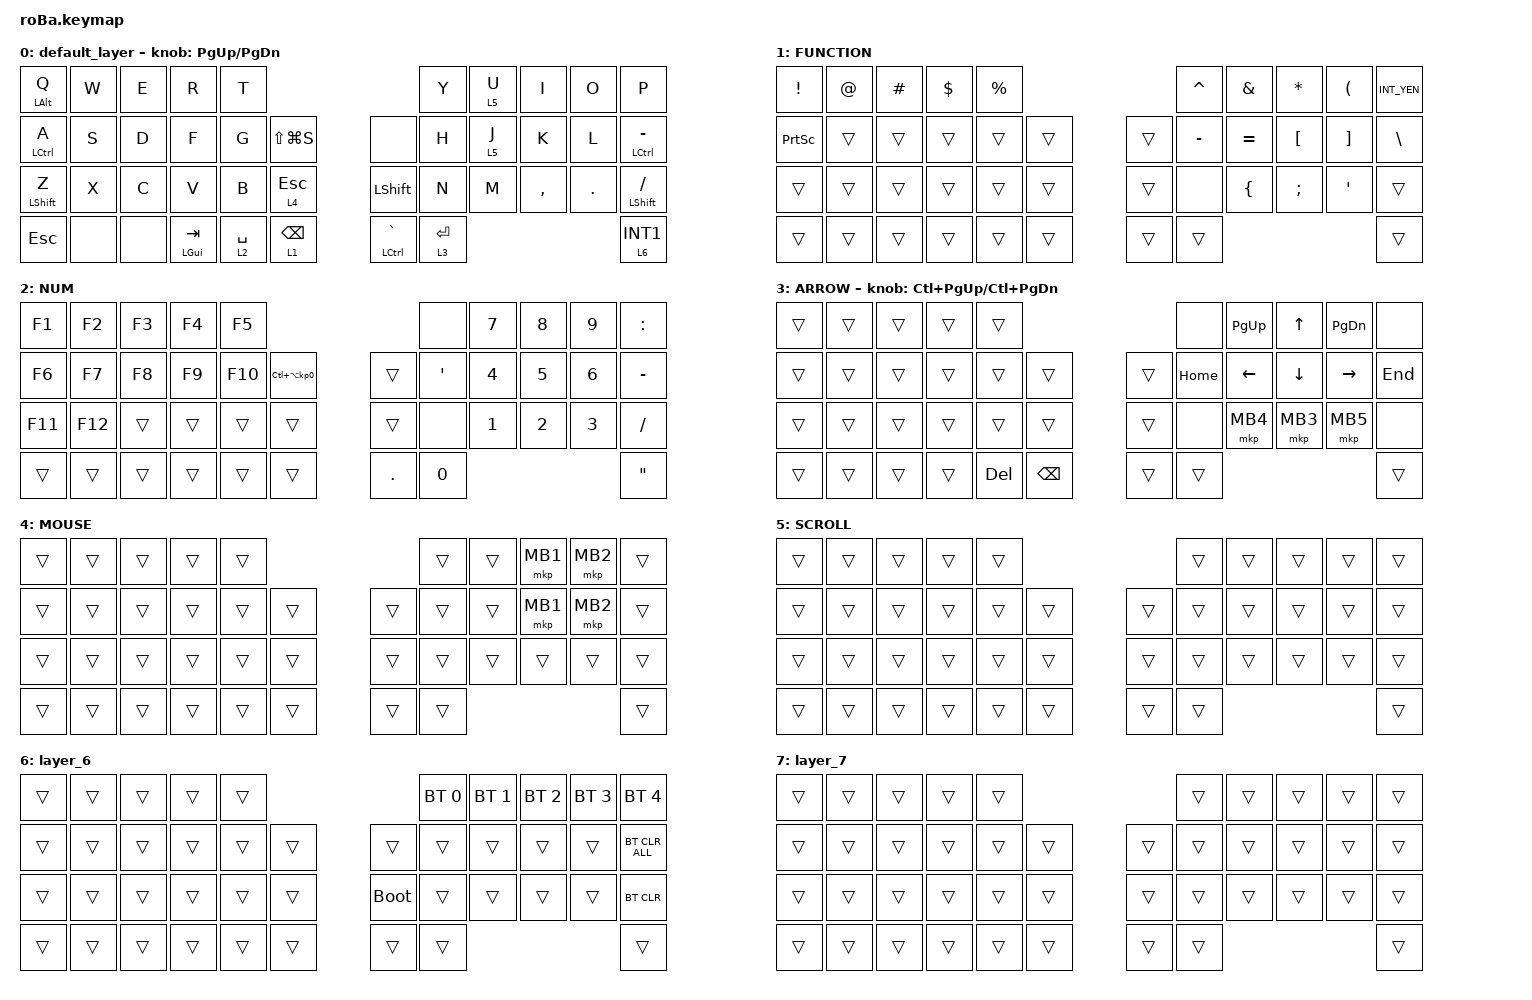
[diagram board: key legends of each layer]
#include <behaviors.dtsi>
#include <dt-bindings/zmk/bt.h>
#include <dt-bindings/zmk/keys.h>
#include <dt-bindings/zmk/pointing.h>

&mt {
    flavor = "balanced";
    quick-tap-ms = <0>;
};

&trackball {
    automouse-layer = <4>;
    scroll-layers = <5>;

    // arrows {
    //     layers = <3>;
    //     bindings =
    //         <&kp RIGHT_ARROW>,
    //         <&kp LEFT_ARROW>,
    //         <&kp UP_ARROW>,
    //         <&kp DOWN_ARROW>;
    //     tick = <10>;
    //     wait-ms = <5>;
    //     tap-ms = <5>;
    // };
};

/ {
    combos {
        compatible = "zmk,combos";

        tab {
            bindings = <&kp TAB>;
            key-positions = <11 12>;
        };

        shift_tab {
            bindings = <&kp LS(TAB)>;
            key-positions = <12 13>;
        };

        muhennkann {
            bindings = <&to_layer_0 INT_MUHENKAN>;
            key-positions = <11 10>;
        };

        double_quotation {
            bindings = <&kp DOUBLE_QUOTES>;
            key-positions = <20 21>;
        };

        eq {
            bindings = <&kp EQUAL>;
            key-positions = <24 25>;
        };
    };

    macros {
        to_layer_0: to_layer_0 {
            compatible = "zmk,behavior-macro-one-param";
            #binding-cells = <1>;
            bindings = <&to 0 &macro_param_1to1 &kp MACRO_PLACEHOLDER>;
            label = "TO_LAYER_0";
        };
    };

    behaviors {
        lt_to_layer_0: lt_to_layer_0 {
            compatible = "zmk,behavior-hold-tap";
            label = "LAYER_TAP_TO_0";
            bindings = <&mo>, <&to_layer_0>;

            #binding-cells = <2>;
            tapping-term-ms = <200>;
        };
    };

    keymap {
        compatible = "zmk,keymap";

        default_layer {
            bindings = <
&mt LALT Q        &kp W  &kp E  &kp R             &kp T                                                         &kp Y        &lt 5 U  &kp I      &kp O    &kp P
&mt LCTRL A       &kp S  &kp D  &kp F             &kp G        &kp LS(LG(S))                   &none            &kp H        &lt 5 J  &kp K      &kp L    &mt LCTRL MINUS
&mt LEFT_SHIFT Z  &kp X  &kp C  &kp V             &kp B        &lt 4 ESCAPE                    &kp LSHFT        &kp N        &kp M    &kp COMMA  &kp DOT  &mt LSHFT SLASH
&kp ESCAPE        &none  &none  &mt LEFT_GUI TAB  &lt 2 SPACE  &lt_to_layer_0 1 BACKSPACE      &mt LCTRL GRAVE  &lt 3 ENTER                               &lt 6 INT1
            >;

            sensor-bindings = <&inc_dec_kp PG_UP PAGE_DOWN>;
        };

        FUNCTION {
            bindings = <
&kp EXCLAMATION  &kp AT  &kp HASH  &kp DOLLAR  &kp PERCENT                      &kp CARET  &kp AMPERSAND   &kp ASTRK         &kp LEFT_PARENTHESIS  &kp INT_YEN
&kp PRINTSCREEN  &trans  &trans    &trans      &trans       &trans      &trans  &kp MINUS  &kp EQUAL       &kp LEFT_BRACKET  &kp RIGHT_BRACKET     &kp BACKSLASH
&trans           &trans  &trans    &trans      &trans       &trans      &trans  &none      &kp LEFT_BRACE  &kp SEMICOLON     &kp SINGLE_QUOTE      &trans
&trans           &trans  &trans    &trans      &trans       &trans      &trans  &trans                                                             &trans
            >;
        };

        NUM {
            bindings = <
&kp F1   &kp F2   &kp F3  &kp F4  &kp F5                                            &none             &kp N7        &kp N8        &kp N9        &kp COLON
&kp F6   &kp F7   &kp F8  &kp F9  &kp F10  &kp LC(LA(KP_NUMBER_0))      &trans      &kp SINGLE_QUOTE  &kp NUMBER_4  &kp N5        &kp NUMBER_6  &kp MINUS
&kp F11  &kp F12  &trans  &trans  &trans   &trans                       &trans      &none             &kp NUMBER_1  &kp NUMBER_2  &kp NUMBER_3  &kp SLASH
&trans   &trans   &trans  &trans  &trans   &trans                       &kp PERIOD  &kp NUMBER_0                                                &kp DOUBLE_QUOTES
            >;
        };

        ARROW {
            bindings = <
&trans  &trans  &trans  &trans  &trans                              &none     &kp PAGE_UP     &kp UP_ARROW    &kp PAGE_DOWN    &none
&trans  &trans  &trans  &trans  &trans   &trans             &trans  &kp HOME  &kp LEFT_ARROW  &kp DOWN_ARROW  &kp RIGHT_ARROW  &kp END
&trans  &trans  &trans  &trans  &trans   &trans             &trans  &none     &mkp MB4        &mkp MB3        &mkp MB5         &none
&trans  &trans  &trans  &trans  &kp DEL  &kp BACKSPACE      &trans  &trans                                                     &trans
            >;

            sensor-bindings = <&inc_dec_kp LC(PAGE_UP) LC(PAGE_DOWN)>;
        };

        MOUSE {
            bindings = <
&trans  &trans  &trans  &trans  &trans                      &trans  &trans  &mkp MB1  &mkp MB2  &trans
&trans  &trans  &trans  &trans  &trans  &trans      &trans  &trans  &trans  &mkp MB1  &mkp MB2  &trans
&trans  &trans  &trans  &trans  &trans  &trans      &trans  &trans  &trans  &trans    &trans    &trans
&trans  &trans  &trans  &trans  &trans  &trans      &trans  &trans                              &trans
            >;
        };

        SCROLL {
            bindings = <
&trans  &trans  &trans  &trans  &trans                      &trans  &trans  &trans  &trans  &trans
&trans  &trans  &trans  &trans  &trans  &trans      &trans  &trans  &trans  &trans  &trans  &trans
&trans  &trans  &trans  &trans  &trans  &trans      &trans  &trans  &trans  &trans  &trans  &trans
&trans  &trans  &trans  &trans  &trans  &trans      &trans  &trans                          &trans
            >;
        };

        layer_6 {
            bindings = <
&trans  &trans  &trans  &trans  &trans                           &bt BT_SEL 0  &bt BT_SEL 1  &bt BT_SEL 2  &bt BT_SEL 3  &bt BT_SEL 4
&trans  &trans  &trans  &trans  &trans  &trans      &trans       &trans        &trans        &trans        &trans        &bt BT_CLR_ALL
&trans  &trans  &trans  &trans  &trans  &trans      &bootloader  &trans        &trans        &trans        &trans        &bt BT_CLR
&trans  &trans  &trans  &trans  &trans  &trans      &trans       &trans                                                  &trans
            >;
        };

        layer_7 {
            bindings = <
&trans  &trans  &trans  &trans  &trans                      &trans  &trans  &trans  &trans  &trans
&trans  &trans  &trans  &trans  &trans  &trans      &trans  &trans  &trans  &trans  &trans  &trans
&trans  &trans  &trans  &trans  &trans  &trans      &trans  &trans  &trans  &trans  &trans  &trans
&trans  &trans  &trans  &trans  &trans  &trans      &trans  &trans                          &trans
            >;
        };
    };
};
